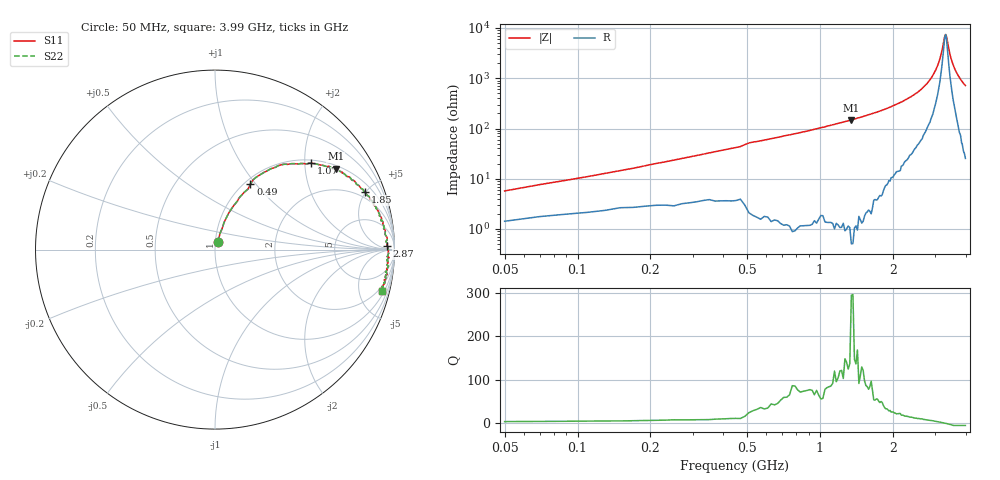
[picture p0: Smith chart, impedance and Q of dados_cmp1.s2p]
! Data Taken on a HP 8720C VNA using a shunt-through fixture with TRL* de-embedding
#	mhz	s	ma	r	50
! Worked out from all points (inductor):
!   198 points, 50 MHz to 3.99 GHz, reference 50 ohm
!   read as one part in series: L = 16.9 nH near 50 MHz
!   highest Q = 295 at 1.35 GHz (marker M1), where L = 17.5 nH
!   self-resonance near 3.29 GHz
!   S11 on the Smith chart (normalised r, x): 50 MHz: 1.03, +0.09; 490 MHz: 1.07, +0.94; 1.07 GHz: 1.08, +2.16; 1.85 GHz: 1.53, +4.93; 2.87 GHz: 36, +19; 3.99 GHz: 1.39, -8.01
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50  0.04542 67.0  0.986 -3.8  0.986 -3.8  0.04542 67.0
70  0.06795 71.0  0.9801 -4.6  0.9801 -4.6  0.06795 71.0
90  0.08696 72.6  0.9759 -5.4  0.9759 -5.4  0.08696 72.6
190  0.1708 71.1  0.9574 -10.1  0.9574 -10.1  0.1708 71.1
330  0.2828 66.0  0.9277 -16.7  0.9277 -16.7  0.2828 66.0
490  0.4144 61.6  0.8778 -25.3  0.8778 -25.3  0.4144 61.6
710  0.5603 54.4  0.7964 -35.8  0.7964 -35.8  0.5603 54.4
1070  0.7203 41.9  0.65 -48.2  0.65 -48.2  0.7203 41.9
1350  0.8099 33.8  0.5452 -56.5  0.5452 -56.5  0.8099 33.8
1370  0.8129 33.0  0.5362 -57.4  0.5362 -57.4  0.8129 33.0
1850  0.8949 21.0  0.3749 -67.6  0.3749 -67.6  0.8949 21.0
2030  0.9181 16.9  0.3193 -70.8  0.3193 -70.8  0.9181 16.9
2690  0.9599 4.2  0.1418 -79.4  0.1418 -79.4  0.9599 4.2
2870  0.9576 1.3  0.09821 -79.8  0.09821 -79.8  0.9576 1.3
3110  0.9605 -2.3  0.044 -73.6  0.044 -73.6  0.9605 -2.3
3290  0.9642 -4.8  0.01333 -16.0  0.01333 -16.0  0.9642 -4.8
3310  0.9612 -5.0  0.01289 1.5  0.01289 1.5  0.9612 -5.0
3350  0.9698 -5.4  0.01594 33.4  0.01594 33.4  0.9698 -5.4
3450  0.9643 -7.0  0.03278 62.3  0.03278 62.3  0.9643 -7.0
3590  0.9626 -8.8  0.0591 71.3  0.0591 71.3  0.9626 -8.8
3790  0.9636 -11.1  0.09643 74.5  0.09643 74.5  0.9636 -11.1
3990  0.9595 -13.8  0.1325 74.4  0.1325 74.4  0.9595 -13.8
